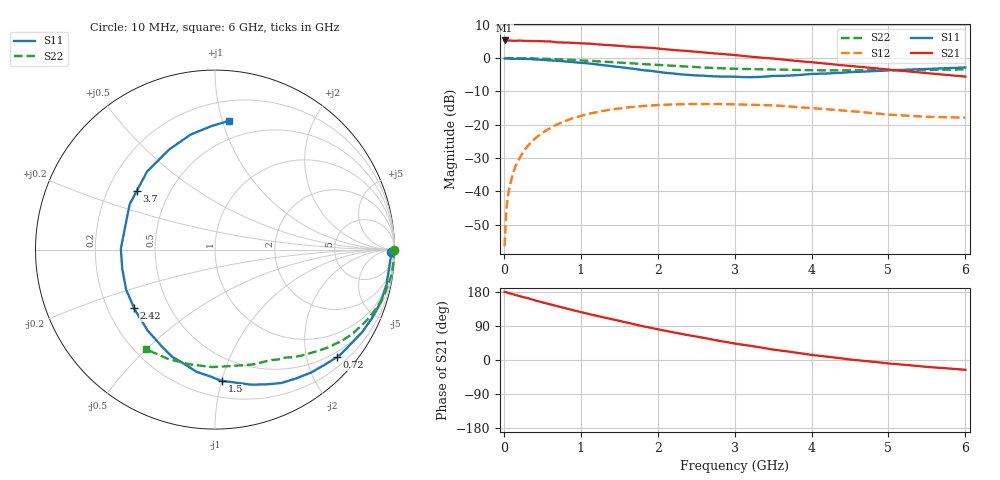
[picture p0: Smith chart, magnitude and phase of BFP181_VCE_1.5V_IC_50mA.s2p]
! Infineon Technologies  Discrete & RF Semiconductors
! BFP181
! VCE = 1.5 V,  IC =  50 mA
! Common Emitter S-Parameters:  Jan 2016
# GHz  S  MA  R  50
!  f  S11  S21  S12  S22
! GHz  MAG  ANG  MAG  ANG  MAG  ANG  MAG  ANG
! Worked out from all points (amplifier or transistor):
!   210 points, 10 MHz to 6 GHz, reference 50 ohm
!   highest |S21| = 5.3 dB at 10 MHz (marker M1)
!   |S21| within 3 dB of that: start of sweep to 2.279 GHz
!   unconditionally stable (mu >= 1): 3.625 GHz to end of sweep
!   at 185 MHz: K = 0.06, MSG = 18.1 dB, |S12| = -30.9 dB
!   at 1.52 GHz: K = 0.47, MSG = 9.4 dB, |S12| = -15.1 dB
!   at 6 GHz: K = 1.50, MAG = 2.0 dB, |S12| = -17.9 dB
!   S11 on the Smith chart (normalised r, x): 10 MHz: 75, -48; 720 MHz: 0.39, -2.59; 1.5 GHz: 0.32, -1.00; 2.42 GHz: 0.31, -0.29; 3.7 GHz: 0.32, +0.30; 6 GHz: 0.35, +1.05
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0.01  0.9812 -0.7  1.834 179.8  0.0015 89.0  0.9995 -0.2
0.03  0.9844 -1.9  1.83 178.8  0.0046 91.0  0.9943 -0.9
0.05  0.9793 -2.8  1.826 177.3  0.0081 89.5  0.998 -1.5
0.09  0.9762 -5.2  1.816 175.1  0.0139 86.2  0.9978 -2.5
0.15  0.9738 -8.7  1.811 171.8  0.0235 83.8  0.996 -4.2
0.26  0.9699 -15.1  1.811 165.6  0.0399 79.5  0.9926 -7.5
0.38  0.9567 -22.2  1.8 158.9  0.058 74.3  0.9865 -10.7
0.6  0.9214 -34.9  1.773 146.9  0.0886 65.2  0.9688 -16.9
0.72  0.9051 -41.5  1.712 140.8  0.1039 60.6  0.9561 -20.0
1.02  0.8437 -59.0  1.656 125.5  0.137 49.2  0.9191 -27.5
1.1  0.83 -63.6  1.646 121.4  0.1451 46.4  0.9081 -29.3
1.5  0.7326 -87.0  1.53 103.2  0.1747 33.0  0.8511 -38.1
1.8  0.6584 -105.2  1.45 89.4  0.1902 24.8  0.812 -43.5
2.02  0.6162 -118.7  1.383 80.3  0.1976 18.8  0.7843 -47.4
2.42  0.5556 -144.2  1.266 64.7  0.2039 8.7  0.7382 -54.3
2.8  0.5277 -168.3  1.16 50.6  0.2043 0.9  0.706 -60.1
3.1  0.5176 173.9  1.077 40.6  0.2001 -4.9  0.6856 -64.9
3.7  0.5447 143.3  0.929 22.3  0.1877 -13.7  0.6651 -75.1
4.1  0.5801 127.6  0.842 11.2  0.1738 -18.5  0.6541 -83.0
4.5  0.6136 114.5  0.764 1.3  0.1601 -22.3  0.6546 -91.4
5.1  0.6592 100.1  0.654 -10.7  0.1393 -22.5  0.6542 -104.4
6  0.7212 84.0  0.526 -25.9  0.1273 -15.2  0.6751 -124.6
